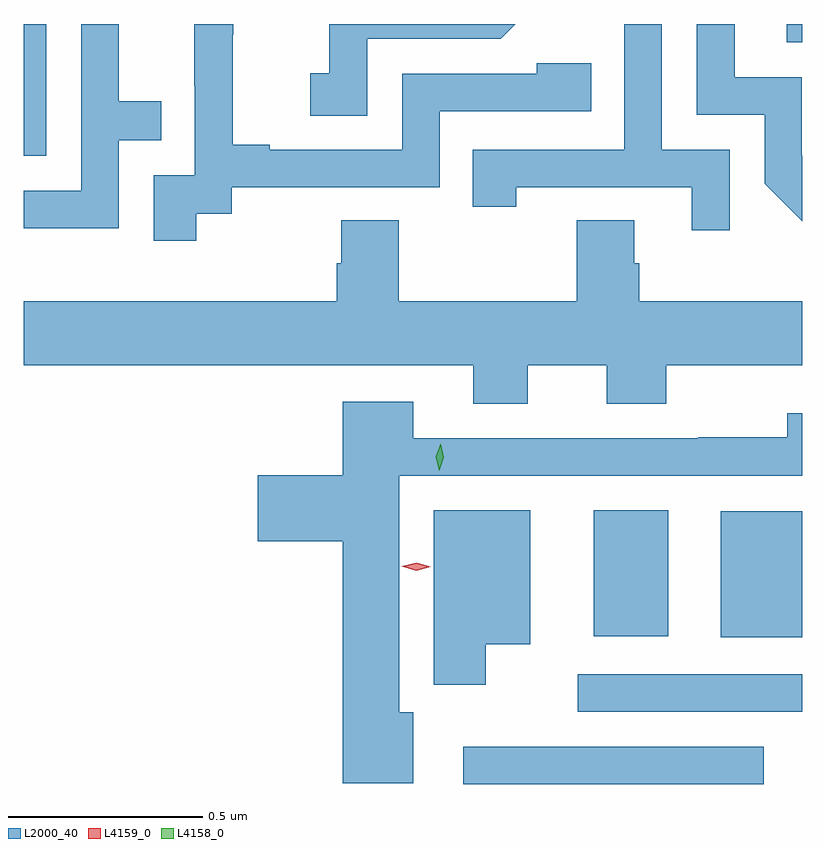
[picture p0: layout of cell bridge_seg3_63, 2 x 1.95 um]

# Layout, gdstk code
import gdstk
lib = gdstk.Library(unit=1e-6, precision=1e-09)
def R(c, l, rs):  # rectangles x0, y0, x1, y1
    for r in rs: c.add(gdstk.rectangle(r[:2], r[2:], *l))
def P(c, l, *ps):  # polygons
    for p in ps: c.add(gdstk.Polygon(p, *l))
L2000_40 = (2000, 40)
L4158_0 = (4158, 0)
L4159_0 = (4159, 0)

bridge_seg3_63 = lib.new_cell('bridge_seg3_63')
R(bridge_seg3_63, L2000_40, [(503.544,705.168,504.316,705.264), (503.838,705.354,504.415,705.45), (504.206,705.545,504.415,705.868), (503.879,705.548,504.07,705.871), (502.415,706.782,502.473,707.12), (504.375,707.073,504.415,707.12)])
P(bridge_seg3_63, L2000_40, [(504.415,706.781),(504.414,706.782),(504.414,706.983),(504.241,706.983),(504.241,707.12),(504.144,707.12),(504.144,706.887),(504.318,706.887),(504.318,706.71),(504.415,706.614)],
  [(502.858,706.633),(502.95,706.633),(502.95,706.701),(503.484,706.701),(503.484,706.896),(503.873,706.896),(503.873,707.019),(503.733,707.019),(503.733,706.992),(503.388,706.992),(503.388,706.797),(503.047,706.797),(503.047,706.81),(502.952,706.81),(502.952,707.093),(502.953,707.093),(502.953,707.12),(502.853,707.12),(502.853,706.961),(502.854,706.961),(502.854,706.731),(502.749,706.731),(502.749,706.563),(502.858,706.563)],
  [(502.659,706.821),(502.769,706.821),(502.769,706.922),(502.659,706.922),(502.659,707.12),(502.563,707.12),(502.563,706.692),(502.415,706.692),(502.415,706.596),(502.659,706.596)],
  [(503.298,707.082),(503.64,707.082),(503.678,707.12),(503.2,707.12),(503.2,706.993),(503.151,706.993),(503.151,706.884),(503.298,706.884)],
  [(504.228,706.797),(504.054,706.797),(504.054,707.12),(503.958,707.12),(503.958,706.797),(503.569,706.797),(503.569,706.65),(503.68,706.65),(503.68,706.701),(504.131,706.701),(504.131,706.59),(504.228,706.59)],
  [(503.71,706.244),(503.912,706.244),(503.912,706.145),(504.065,706.145),(504.065,706.244),(504.415,706.244),(504.415,706.408),(503.996,706.408),(503.996,706.506),(503.983,706.506),(503.983,706.616),(503.836,706.616),(503.836,706.408),(503.379,706.408),(503.379,706.616),(503.231,706.616),(503.231,706.506),(503.219,706.506),(503.219,706.408),(502.415,706.408),(502.415,706.244),(503.57,706.244),(503.57,706.145),(503.71,706.145)],
  [(503.416,705.352),(503.38,705.352),(503.38,705.96),(504.415,705.96),(504.415,706.12),(504.376,706.12),(504.376,706.058),(504.148,706.058),(504.148,706.056),(503.416,706.056),(503.416,706.15),(503.234,706.15),(503.234,705.961),(503.016,705.961),(503.016,705.791),(503.234,705.791),(503.234,705.17),(503.416,705.17)],
  [(503.602,705.527),(503.716,705.527),(503.716,705.871),(503.468,705.871),(503.468,705.423),(503.602,705.423)])
P(bridge_seg3_63, L4158_0, [(503.483,705.973),(503.483,705.973),(503.474,706.008),(503.486,706.042),(503.486,706.042),(503.486,706.042),(503.494,706.007),(503.483,705.973)])
P(bridge_seg3_63, L4159_0, [(503.423,705.716),(503.386,705.727),(503.385,705.727),(503.386,705.727),(503.424,705.736),(503.461,705.726),(503.461,705.726),(503.461,705.726)])

lib.write_gds('bridge_seg3_63.gds')
